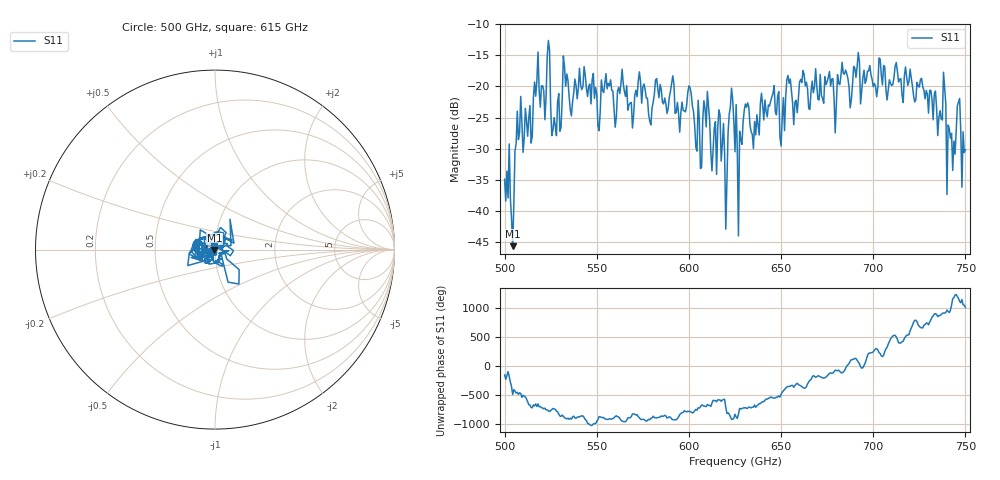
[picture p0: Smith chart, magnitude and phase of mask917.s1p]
!Created with skrf (http://scikit-rf.org).
# GHz S MA R 50.0
!freq magS11 angS11
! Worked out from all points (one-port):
!   401 points, 500 GHz to 750 GHz, reference 50 ohm
!   lowest |S11| = -45.6 dB at 504.4 GHz (marker M1), VSWR 1.01, Z = 49.6 - j0.382 ohm
!   |S11| at or under -10 dB: start of sweep to end of sweep
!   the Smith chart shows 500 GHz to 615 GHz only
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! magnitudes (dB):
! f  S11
! 500 GHz  -34.9
! 504.4 GHz  -45.6
! 507.5 GHz  -28.5
! 513.8 GHz  -23.1
! 516.9 GHz  -21.6
! 523.8 GHz  -12.6
! 526.9 GHz  -25.0
! 531.2 GHz  -22.0
! 562.5 GHz  -21.2
! 579.4 GHz  -26.2
! 590.6 GHz  -19.5
! 593.8 GHz  -22.6
! 600.6 GHz  -20.2
! 605.6 GHz  -25.4
! 609.4 GHz  -26.5
! 619.4 GHz  -30.9
! 622.5 GHz  -23.3
! 625 GHz  -30.5
! 627.5 GHz  -27.2
! 631.2 GHz  -23.3
! 635 GHz  -30.0
! 656.2 GHz  -22.6
! 687.5 GHz  -23.4
! 718.8 GHz  -19.8
! 738.1 GHz  -17.7
! 743.1 GHz  -33.5
! 746.2 GHz  -22.5
! 750 GHz  -30.2
